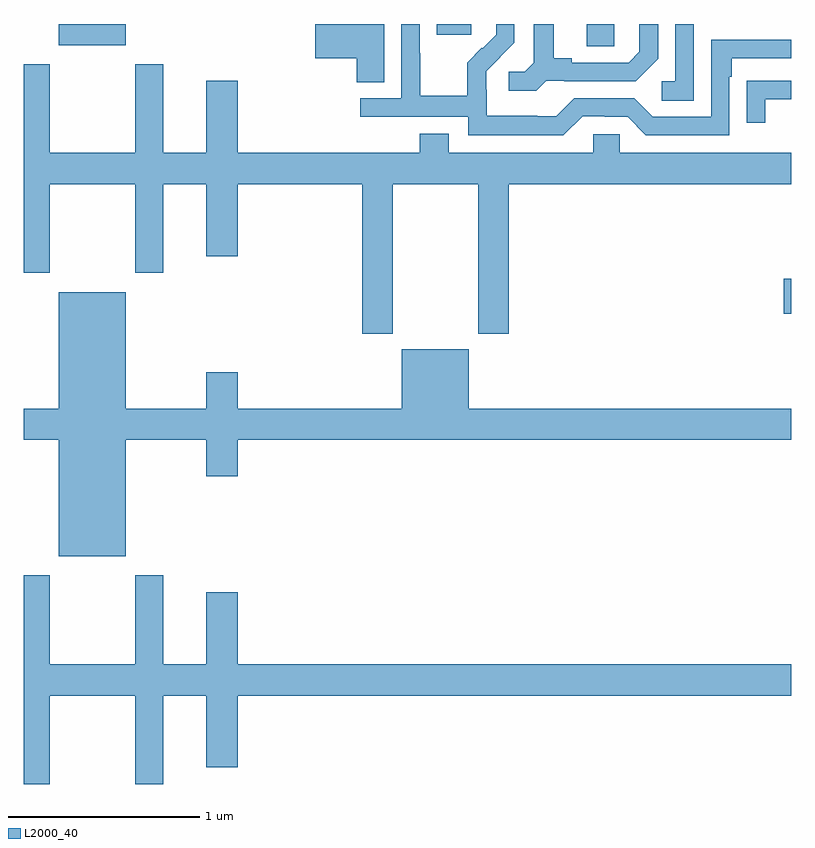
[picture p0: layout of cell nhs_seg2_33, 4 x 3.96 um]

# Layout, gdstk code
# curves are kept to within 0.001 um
import gdstk
lib = gdstk.Library(unit=1e-6, precision=1e-09)
def R(c, l, rs):  # rectangles x0, y0, x1, y1
    for r in rs: c.add(gdstk.rectangle(r[:2], r[2:], *l))
def P(c, l, *ps):  # polygons
    for p in ps: c.add(gdstk.Polygon(p, *l))
L2000_40 = (2000, 40)

nhs_seg2_33 = lib.new_cell('nhs_seg2_33')
R(nhs_seg2_33, L2000_40, [(114.96,652.289,115,652.472), (113.933,653.683,114.078,653.8), (111.182,653.69,111.532,653.8), (113.153,653.745,113.332,653.8)])
P(nhs_seg2_33, L2000_40, [(114.492,653.8),(114.396,653.8),(114.396,653.502),(114.324,653.502),(114.324,653.401),(114.492,653.401)],
  [(113.913,653.319),(114.029,653.319),(114.029,653.316),(114.147,653.316),(114.243,653.22),(114.678,653.22),(114.678,653.525),(114.691,653.525),(114.691,653.622),(115,653.622),(115,653.718),(114.582,653.718),(114.582,653.316),(114.279,653.316),(114.183,653.412),(113.868,653.412),(113.775,653.319),(113.675,653.319),(113.675,653.323),(113.412,653.323),(113.412,653.457),(113.41,653.457),(113.41,653.554),(113.556,653.702),(113.556,653.8),(113.462,653.8),(113.462,653.744),(113.391,653.673),(113.388,653.676),(113.311,653.599),(113.311,653.425),(113.067,653.425),(113.067,653.648),(113.064,653.648),(113.064,653.8),(112.968,653.8),(112.968,653.412),(112.755,653.412),(112.755,653.316),(113.316,653.316),(113.316,653.219),(113.813,653.219)],
  [(113.724,653.505),(113.818,653.505),(113.818,653.502),(114.19,653.502),(114.306,653.618),(114.306,653.8),(114.209,653.8),(114.209,653.655),(114.152,653.598),(113.857,653.598),(113.857,653.621),(113.761,653.621),(113.761,653.8),(113.657,653.8),(113.657,653.597),(113.61,653.55),(113.529,653.55),(113.529,653.453),(113.672,653.453)],
  [(112.879,653.8),(112.518,653.8),(112.518,653.621),(112.736,653.621),(112.736,653.497),(112.879,653.497)],
  [(112.923,652.964),(113.368,652.964),(113.368,652.185),(113.528,652.185),(113.528,652.964),(115,652.964),(115,653.128),(114.105,653.128),(114.105,653.226),(113.967,653.226),(113.967,653.128),(113.215,653.128),(113.215,653.227),(113.063,653.227),(113.063,653.128),(112.114,653.128),(112.114,653.503),(111.95,653.503),(111.95,653.128),(111.727,653.128),(111.727,653.59),(111.58,653.59),(111.58,653.128),(111.135,653.128),(111.135,653.59),(111,653.59),(111,652.503),(111.135,652.503),(111.135,652.964),(111.58,652.964),(111.58,652.503),(111.727,652.503),(111.727,652.964),(111.95,652.964),(111.95,652.59),(112.114,652.59),(112.114,652.964),(112.763,652.964),(112.763,652.185),(112.923,652.185)],
  [(114.865,653.409),(115,653.409),(115,653.505),(114.871,653.505),(114.871,653.504),(114.769,653.504),(114.769,653.286),(114.865,653.286)],
  [(111.532,651.632),(111.95,651.632),(111.95,651.444),(112.114,651.444),(112.114,651.632),(115,651.632),(115,651.796),(113.32,651.796),(113.32,652.105),(112.97,652.105),(112.97,651.796),(112.114,651.796),(112.114,651.985),(111.95,651.985),(111.95,651.796),(111.532,651.796),(111.532,652.402),(111.182,652.402),(111.182,651.796),(111,651.796),(111,651.632),(111.182,651.632),(111.182,651.026),(111.532,651.026)],
  [(111.135,650.3),(111.58,650.3),(111.58,649.839),(111.727,649.839),(111.727,650.3),(111.95,650.3),(111.95,649.926),(112.114,649.926),(112.114,650.3),(115,650.3),(115,650.464),(112.114,650.464),(112.114,650.839),(111.95,650.839),(111.95,650.464),(111.727,650.464),(111.727,650.926),(111.58,650.926),(111.58,650.464),(111.135,650.464),(111.135,650.926),(111,650.926),(111,649.839),(111.135,649.839)])

lib.write_gds('nhs_seg2_33.gds')
